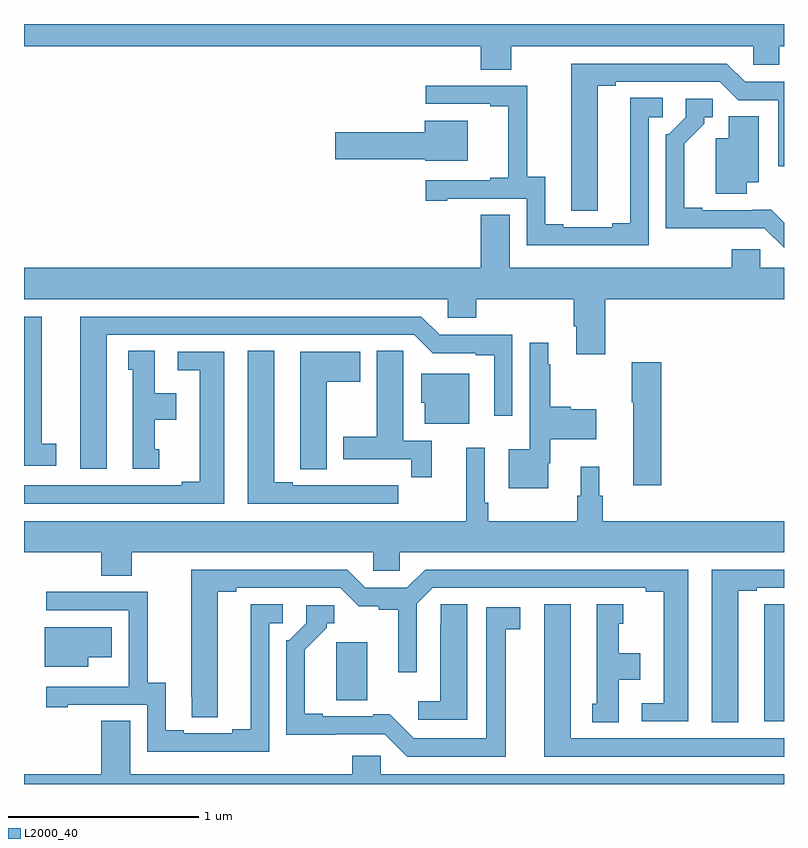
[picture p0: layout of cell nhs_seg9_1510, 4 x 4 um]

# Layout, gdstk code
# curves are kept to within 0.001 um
import gdstk
lib = gdstk.Library(unit=1e-6, precision=1e-09)
def P(c, l, *ps):  # polygons
    for p in ps: c.add(gdstk.Polygon(p, *l))
L2000_40 = (2000, 40)

nhs_seg9_1510 = lib.new_cell('nhs_seg9_1510')
P(nhs_seg9_1510, L2000_40, [(197.565,1232.384),(198.837,1232.384),(198.837,1232.286),(198.975,1232.286),(198.975,1232.384),(199,1232.384),(199,1232.5),(195,1232.5),(195,1232.384),(197.405,1232.384),(197.405,1232.26),(197.565,1232.26)],
  [(198.019,1232.176),(198.115,1232.176),(198.115,1232.196),(198.663,1232.196),(198.759,1232.1),(198.969,1232.1),(198.969,1231.752),(199,1231.752),(199,1232.196),(198.795,1232.196),(198.699,1232.292),(197.879,1232.292),(197.88,1231.516),(198.019,1231.516)],
  [(198.288,1232.01),(198.361,1232.01),(198.361,1232.111),(198.191,1232.111),(198.191,1231.451),(198.095,1231.451),(198.095,1231.431),(197.839,1231.431),(197.839,1231.446),(197.743,1231.446),(197.743,1231.697),(197.649,1231.697),(197.649,1232.175),(197.115,1232.175),(197.115,1232.079),(197.453,1232.079),(197.453,1232.067),(197.549,1232.067),(197.549,1231.69),(197.453,1231.69),(197.453,1231.677),(197.115,1231.677),(197.115,1231.569),(197.227,1231.569),(197.227,1231.581),(197.646,1231.581),(197.646,1231.335),(198.288,1231.335)],
  [(199,1231.454),(198.932,1231.522),(198.571,1231.521),(198.571,1231.534),(198.475,1231.534),(198.475,1231.87),(198.58,1231.975),(198.58,1232.01),(198.625,1232.01),(198.625,1232.106),(198.483,1232.106),(198.483,1232.01),(198.393,1231.92),(198.378,1231.92),(198.378,1231.424),(198.897,1231.425),(199,1231.322)],
  [(198.805,1231.667),(198.868,1231.667),(198.868,1232.015),(198.71,1232.015),(198.71,1231.9),(198.641,1231.9),(198.641,1231.606),(198.805,1231.606)],
  [(197.335,1231.99),(197.108,1231.99),(197.108,1231.929),(196.638,1231.929),(196.638,1231.787),(197.112,1231.787),(197.112,1231.781),(197.335,1231.781)],
  [(198.059,1231.052),(199,1231.052),(199,1231.216),(198.876,1231.216),(198.876,1231.314),(198.725,1231.314),(198.725,1231.216),(197.557,1231.216),(197.557,1231.496),(197.405,1231.496),(197.405,1231.216),(195,1231.216),(195,1231.052),(197.229,1231.052),(197.229,1230.954),(197.381,1230.954),(197.381,1231.052),(197.894,1231.052),(197.894,1230.91),(197.906,1230.91),(197.906,1230.762),(198.059,1230.762)],
  [(195.169,1230.29),(195.094,1230.29),(195.094,1230.96),(195,1230.96),(195,1230.174),(195.169,1230.174)],
  [(195.436,1230.864),(197.055,1230.864),(197.151,1230.768),(197.378,1230.768),(197.378,1230.756),(197.474,1230.756),(197.474,1230.438),(197.571,1230.438),(197.571,1230.864),(197.187,1230.864),(197.091,1230.96),(195.296,1230.96),(195.296,1230.159),(195.436,1230.159)],
  [(197.758,1230.189),(197.77,1230.189),(197.77,1230.314),(198.013,1230.314),(198.013,1230.472),(197.877,1230.472),(197.877,1230.485),(197.77,1230.485),(197.77,1230.71),(197.758,1230.71),(197.758,1230.823),(197.661,1230.823),(197.661,1230.262),(197.552,1230.262),(197.552,1230.056),(197.758,1230.056)],
  [(196.969,1230.072),(196.856,1230.072),(196.856,1230.073),(196.69,1230.073),(196.69,1230.072),(196.414,1230.072),(196.414,1230.087),(196.318,1230.087),(196.318,1230.779),(196.178,1230.779),(196.178,1229.976),(196.969,1229.976)],
  [(195.712,1230.261),(195.688,1230.261),(195.688,1230.416),(195.802,1230.416),(195.802,1230.556),(195.688,1230.556),(195.688,1230.779),(195.548,1230.779),(195.548,1230.681),(195.572,1230.681),(195.572,1230.159),(195.712,1230.159)],
  [(197.147,1230.306),(196.996,1230.306),(196.996,1230.668),(196.995,1230.668),(196.995,1230.779),(196.856,1230.779),(196.856,1230.327),(196.679,1230.327),(196.679,1230.21),(197.038,1230.21),(197.038,1230.114),(197.147,1230.114)],
  [(196.594,1230.616),(196.771,1230.616),(196.771,1230.775),(196.454,1230.775),(196.454,1230.265),(196.455,1230.265),(196.455,1230.157),(196.594,1230.157)],
  [(196.054,1230.774),(195.81,1230.774),(195.81,1230.678),(195.926,1230.678),(195.926,1230.092),(195.83,1230.092),(195.83,1230.072),(195,1230.072),(195,1229.976),(196.054,1229.976)],
  [(198.353,1230.721),(198.199,1230.721),(198.199,1230.508),(198.206,1230.508),(198.206,1230.072),(198.353,1230.072)],
  [(197.344,1230.658),(197.09,1230.658),(197.09,1230.507),(197.108,1230.507),(197.108,1230.395),(197.344,1230.395)],
  [(195.567,1229.72),(196.839,1229.72),(196.839,1229.622),(196.977,1229.622),(196.977,1229.72),(199,1229.72),(199,1229.884),(198.047,1229.884),(198.047,1230.018),(198.028,1230.018),(198.028,1230.169),(197.93,1230.169),(197.93,1230.018),(197.911,1230.018),(197.911,1229.884),(197.444,1229.884),(197.444,1229.98),(197.424,1229.98),(197.424,1230.271),(197.327,1230.271),(197.327,1229.884),(195,1229.884),(195,1229.72),(195.407,1229.72),(195.407,1229.596),(195.567,1229.596)],
  [(198.496,1229.628),(197.111,1229.628),(197.015,1229.532),(196.797,1229.532),(196.701,1229.628),(195.881,1229.628),(195.882,1228.852),(196.021,1228.852),(196.021,1229.512),(196.117,1229.512),(196.117,1229.532),(196.665,1229.532),(196.763,1229.435),(196.866,1229.435),(196.866,1229.416),(196.97,1229.416),(196.97,1229.088),(197.067,1229.088),(197.067,1229.448),(197.151,1229.532),(198.272,1229.532),(198.272,1229.512),(198.368,1229.512),(198.368,1228.926),(198.252,1228.926),(198.252,1228.83),(198.496,1228.83)],
  [(198.76,1229.517),(198.856,1229.517),(198.856,1229.532),(199,1229.532),(199,1229.628),(198.62,1229.628),(198.62,1228.825),(198.76,1228.825)],
  [(196.29,1229.346),(196.363,1229.346),(196.363,1229.447),(196.193,1229.447),(196.193,1228.787),(196.097,1228.787),(196.097,1228.767),(195.841,1228.767),(195.841,1228.782),(195.745,1228.782),(195.745,1229.033),(195.651,1229.033),(195.651,1229.511),(195.117,1229.511),(195.117,1229.415),(195.552,1229.415),(195.552,1229.014),(195.551,1229.014),(195.551,1229.013),(195.117,1229.013),(195.117,1228.905),(195.229,1228.905),(195.229,1228.917),(195.648,1228.917),(195.648,1228.671),(196.29,1228.671)],
  [(197.332,1229.447),(197.193,1229.447),(197.193,1229.339),(197.192,1229.339),(197.192,1228.936),(197.076,1228.936),(197.076,1228.839),(197.332,1228.839)],
  [(199,1229.447),(198.897,1229.447),(198.897,1229.339),(198.896,1229.339),(198.896,1228.829),(199,1228.829)],
  [(198.13,1229.048),(198.244,1229.048),(198.244,1229.188),(198.13,1229.188),(198.13,1229.343),(198.154,1229.343),(198.154,1229.446),(198.014,1229.446),(198.014,1228.923),(197.99,1228.923),(197.99,1228.825),(198.13,1228.825)],
  [(199,1228.74),(197.878,1228.74),(197.878,1229.446),(197.738,1229.446),(197.738,1228.644),(199,1228.644)],
  [(197.536,1229.314),(197.611,1229.314),(197.611,1229.43),(197.432,1229.43),(197.432,1228.74),(197.052,1228.74),(196.924,1228.868),(196.838,1228.868),(196.838,1228.857),(196.573,1228.857),(196.573,1228.87),(196.477,1228.87),(196.477,1229.206),(196.594,1229.323),(196.594,1229.346),(196.633,1229.346),(196.633,1229.442),(196.485,1229.442),(196.485,1229.346),(196.395,1229.256),(196.38,1229.256),(196.38,1228.76),(196.899,1228.761),(197.016,1228.644),(197.536,1228.644)],
  [(195.337,1229.168),(195.463,1229.168),(195.463,1229.326),(195.11,1229.326),(195.11,1229.117),(195.337,1229.117)],
  [(196.806,1229.1),(196.807,1229.1),(196.807,1229.245),(196.643,1229.245),(196.643,1228.942),(196.806,1228.942)],
  [(199,1228.552),(196.878,1228.552),(196.878,1228.65),(196.727,1228.65),(196.727,1228.552),(195.559,1228.552),(195.559,1228.832),(195.407,1228.832),(195.407,1228.552),(195,1228.552),(195,1228.5),(199,1228.5)])

lib.write_gds('nhs_seg9_1510.gds')
